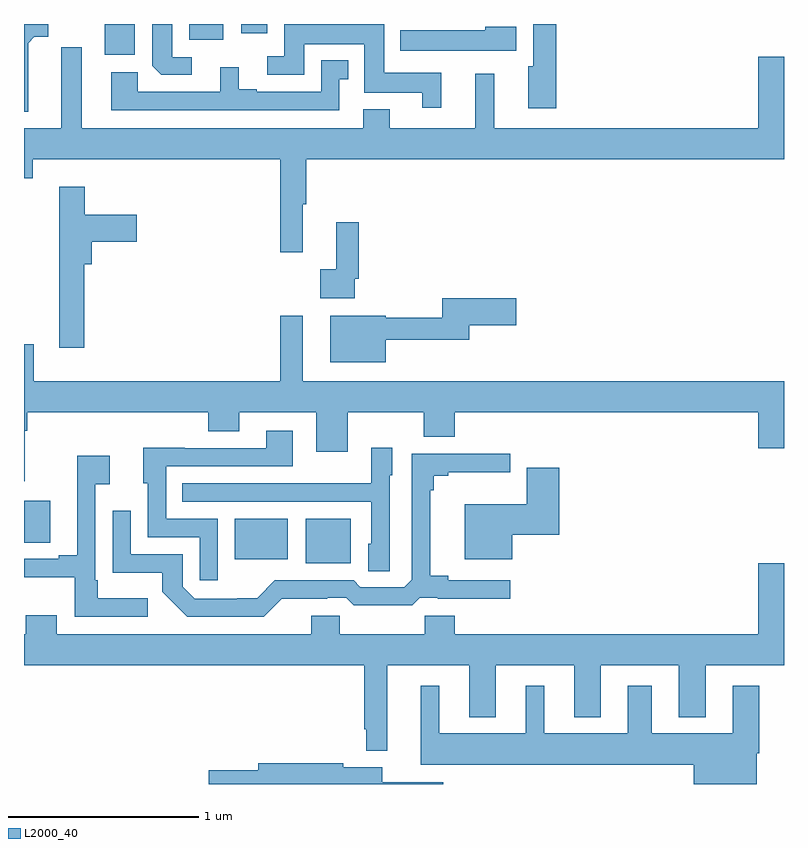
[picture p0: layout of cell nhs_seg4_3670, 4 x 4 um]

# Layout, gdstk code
import gdstk
lib = gdstk.Library(unit=1e-6, precision=1e-09)
def R(c, l, rs):  # rectangles x0, y0, x1, y1
    for r in rs: c.add(gdstk.rectangle(r[:2], r[2:], *l))
def P(c, l, *ps):  # polygons
    for p in ps: c.add(gdstk.Polygon(p, *l))
L2000_40 = (2000, 40)

nhs_seg4_3670 = lib.new_cell('nhs_seg4_3670')
R(nhs_seg4_3670, L2000_40, [(306.482,760.061,306.721,760.297), (306.11,760.082,306.388,760.297), (305,760.171,305.137,760.39), (305.426,762.737,305.584,762.9), (305.87,762.816,306.049,762.9), (306.143,762.852,306.28,762.9)])
P(nhs_seg4_3670, L2000_40, [(305.023,762.8),(305.055,762.833),(305.128,762.833),(305.128,762.9),(305,762.9),(305,762.437),(305.023,762.437)],
  [(305.884,762.726),(305.779,762.726),(305.779,762.9),(305.675,762.9),(305.675,762.79),(305.676,762.79),(305.676,762.679),(305.722,762.633),(305.884,762.633)],
  [(307.802,762.9),(307.679,762.9),(307.679,762.678),(307.655,762.678),(307.655,762.456),(307.802,762.456)],
  [(307.196,762.643),(306.895,762.643),(306.895,762.898),(306.371,762.898),(306.371,762.729),(306.279,762.729),(306.279,762.633),(306.475,762.633),(306.475,762.794),(306.791,762.794),(306.791,762.539),(307.097,762.539),(307.097,762.459),(307.196,762.459)],
  [(307.591,762.886),(307.428,762.886),(307.428,762.868),(306.98,762.868),(306.98,762.758),(307.591,762.758)],
  [(306.467,761.952),(306.485,761.952),(306.485,762.188),(309,762.188),(309,762.727),(308.864,762.727),(308.864,762.352),(307.475,762.352),(307.475,762.637),(307.376,762.637),(307.376,762.352),(306.925,762.352),(306.925,762.451),(306.785,762.451),(306.785,762.352),(305.305,762.352),(305.305,762.778),(305.195,762.778),(305.195,762.352),(305,762.352),(305,762.089),(305.045,762.089),(305.045,762.188),(306.349,762.188),(306.349,761.7),(306.467,761.7)],
  [(306.66,762.609),(306.706,762.609),(306.706,762.709),(306.564,762.709),(306.564,762.543),(306.226,762.543),(306.226,762.556),(306.13,762.556),(306.13,762.673),(306.032,762.673),(306.032,762.543),(305.598,762.543),(305.598,762.646),(305.459,762.646),(305.459,762.447),(306.66,762.447)],
  [(305.318,761.636),(305.357,761.636),(305.357,761.753),(305.593,761.753),(305.593,761.895),(305.321,761.895),(305.321,762.043),(305.186,762.043),(305.186,761.196),(305.318,761.196)],
  [(306.741,761.56),(306.761,761.56),(306.761,761.857),(306.644,761.857),(306.644,761.609),(306.558,761.609),(306.558,761.456),(306.741,761.456)],
  [(306.904,761.237),(307.343,761.237),(307.343,761.314),(307.591,761.314),(307.591,761.456),(307.202,761.456),(307.202,761.354),(306.904,761.354),(306.904,761.365),(306.611,761.365),(306.611,761.12),(306.904,761.12)],
  [(305.005,760.76),(305.018,760.76),(305.018,760.856),(305.969,760.856),(305.969,760.757),(306.133,760.757),(306.133,760.856),(306.539,760.856),(306.539,760.65),(306.703,760.65),(306.703,760.856),(307.103,760.856),(307.103,760.728),(307.267,760.728),(307.267,760.856),(308.864,760.856),(308.864,760.668),(309,760.668),(309,761.02),(306.466,761.02),(306.466,761.365),(306.349,761.365),(306.349,761.02),(305.05,761.02),(305.05,761.215),(305,761.215),(305,760.494),(305.005,760.494)],
  [(306.021,760.296),(305.748,760.296),(305.748,760.572),(306.415,760.572),(306.415,760.759),(306.275,760.759),(306.275,760.668),(305.845,760.668),(305.845,760.67),(305.627,760.67),(305.627,760.482),(305.652,760.482),(305.652,760.2),(305.925,760.2),(305.925,759.972),(306.021,759.972)],
  [(306.924,760.524),(306.937,760.524),(306.937,760.669),(306.828,760.669),(306.828,760.483),(306.511,760.483),(306.511,760.482),(305.833,760.482),(305.833,760.386),(306.828,760.386),(306.828,760.164),(306.812,760.164),(306.812,760.021),(306.924,760.021)],
  [(306.356,759.875),(306.596,759.875),(306.596,759.879),(306.696,759.879),(306.736,759.84),(307.043,759.84),(307.083,759.879),(307.177,759.879),(307.177,759.875),(307.558,759.875),(307.558,759.972),(307.234,759.972),(307.234,759.995),(307.139,759.995),(307.139,760.445),(307.157,760.445),(307.157,760.522),(307.234,760.522),(307.234,760.541),(307.558,760.541),(307.558,760.638),(307.041,760.638),(307.041,759.975),(307.002,759.936),(306.771,759.936),(306.735,759.972),(306.321,759.972),(306.227,759.878),(306.122,759.878),(306.122,759.876),(305.898,759.876),(305.835,759.939),(305.835,760.11),(305.562,760.11),(305.562,760.339),(305.466,760.339),(305.466,760.013),(305.728,760.013),(305.728,759.911),(305.858,759.78),(306.261,759.78)],
  [(305.65,759.877),(305.389,759.877),(305.389,759.973),(305.376,759.973),(305.376,760.478),(305.452,760.478),(305.452,760.627),(305.279,760.627),(305.279,760.105),(305.183,760.105),(305.183,760.086),(305,760.086),(305,759.989),(305.268,759.989),(305.268,759.78),(305.65,759.78)],
  [(307.57,760.211),(307.817,760.211),(307.817,760.564),(307.646,760.564),(307.646,760.372),(307.319,760.372),(307.319,760.082),(307.57,760.082)],
  [(306.913,759.524),(307.343,759.524),(307.343,759.251),(307.483,759.251),(307.483,759.524),(307.895,759.524),(307.895,759.251),(308.035,759.251),(308.035,759.524),(308.447,759.524),(308.447,759.251),(308.587,759.251),(308.587,759.524),(309,759.524),(309,760.063),(308.864,760.063),(308.864,759.688),(307.268,759.688),(307.268,759.786),(307.108,759.786),(307.108,759.688),(306.663,759.688),(306.663,759.786),(306.512,759.786),(306.512,759.688),(305.173,759.688),(305.173,759.787),(305.009,759.787),(305.009,759.688),(305,759.688),(305,759.524),(306.792,759.524),(306.792,759.187),(306.802,759.187),(306.802,759.075),(306.913,759.075)],
  [(308.857,759.062),(308.87,759.062),(308.87,759.418),(308.729,759.418),(308.729,759.166),(308.305,759.166),(308.305,759.418),(308.177,759.418),(308.177,759.166),(307.738,759.166),(307.738,759.418),(307.64,759.418),(307.64,759.166),(307.186,759.166),(307.186,759.418),(307.088,759.418),(307.088,759.002),(308.525,759.002),(308.525,758.9),(308.857,758.9)],
  [(307.207,758.908),(306.886,758.908),(306.886,758.988),(306.68,758.988),(306.68,759.008),(306.233,759.008),(306.233,758.972),(305.973,758.972),(305.973,758.9),(307.207,758.9)])

lib.write_gds('nhs_seg4_3670.gds')
